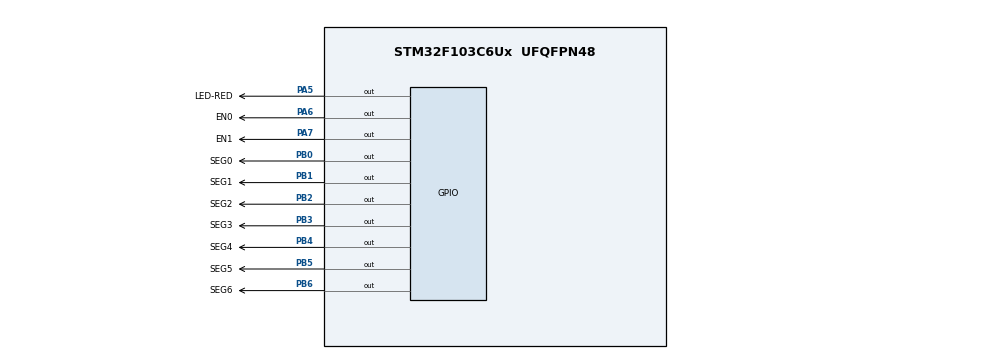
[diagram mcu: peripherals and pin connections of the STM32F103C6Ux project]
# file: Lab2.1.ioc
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Mcu.Family=STM32F1
Mcu.Name=STM32F103C6Ux
Mcu.Package=UFQFPN48
NVIC.PriorityGroup=NVIC_PRIORITYGROUP_4
NVIC.TIM2_IRQn=true\:0\:0\:false\:false\:true\:true\:true
PA5.GPIO_Label=LED-RED
PA5.Signal=GPIO_Output
PA6.GPIO_Label=EN0
PA6.Signal=GPIO_Output
PA7.GPIO_Label=EN1
PA7.Signal=GPIO_Output
PB0.GPIO_Label=SEG0
PB0.Signal=GPIO_Output
PB1.GPIO_Label=SEG1
PB1.Signal=GPIO_Output
PB2.GPIO_Label=SEG2
PB2.Signal=GPIO_Output
PB3.GPIO_Label=SEG3
PB3.Signal=GPIO_Output
PB4.GPIO_Label=SEG4
PB4.Signal=GPIO_Output
PB5.GPIO_Label=SEG5
PB5.Signal=GPIO_Output
PB6.GPIO_Label=SEG6
PB6.Signal=GPIO_Output
ProjectManager.HeapSize=0x200
ProjectManager.StackSize=0x400
ProjectManager.TargetToolchain=STM32CubeIDE
RCC.APB1Freq_Value=8000000
RCC.APB2Freq_Value=8000000
TIM2.Period=9
TIM2.Prescaler=7999
VP_SYS_VS_ND.Mode=No_Debug
VP_TIM2_VS_ClockSourceINT.Mode=Internal
board=custom

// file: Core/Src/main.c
/* USER CODE BEGIN Header */
/**
  ******************************************************************************
  * @file           : main.c
  * @brief          : Main program body
  ******************************************************************************
  * @attention
  *
  * <h2><center>&copy; Copyright (c) 2026 STMicroelectronics.
  * All rights reserved.</center></h2>
  *
  * This software component is licensed by ST under BSD 3-Clause license,
  * the "License"; You may not use this file except in compliance with the
  * License. You may obtain a copy of the License at:
  *                        opensource.org/licenses/BSD-3-Clause
  *
  ******************************************************************************
  */
/* USER CODE END Header */
#include "main.h"

TIM_HandleTypeDef htim2;

void SystemClock_Config(void);
static void MX_GPIO_Init(void);
static void MX_TIM2_Init(void);

/* USER CODE BEGIN 0 */
const uint8_t segment_code[10] = {
    0x40, // 0: a,b,c,d,e,f on (g off)
    0x79, // 1: b,c on
    0x24, // 2: a,b,d,e,g on
    0x30, // 3: a,b,c,d,g on
    0x19, // 4: b,c,f,g on
    0x12, // 5: a,c,d,f,g on
    0x02, // 6: a,c,d,e,f,g on
    0x78, // 7: a,b,c on
    0x00, // 8: a,b,c,d,e,f,g on
    0x10  // 9: a,b,c,d,f,g on
};

void display7SEG(int num) {
    if (num < 0 || num > 9) return;

    uint8_t code = segment_code[num];

    HAL_GPIO_WritePin(GPIOB, GPIO_PIN_0, (code & (1 << 0)) ? GPIO_PIN_SET : GPIO_PIN_RESET);
    HAL_GPIO_WritePin(GPIOB, GPIO_PIN_1, (code & (1 << 1)) ? GPIO_PIN_SET : GPIO_PIN_RESET);
    HAL_GPIO_WritePin(GPIOB, GPIO_PIN_2, (code & (1 << 2)) ? GPIO_PIN_SET : GPIO_PIN_RESET);
    HAL_GPIO_WritePin(GPIOB, GPIO_PIN_3, (code & (1 << 3)) ? GPIO_PIN_SET : GPIO_PIN_RESET);
    HAL_GPIO_WritePin(GPIOB, GPIO_PIN_4, (code & (1 << 4)) ? GPIO_PIN_SET : GPIO_PIN_RESET);
    HAL_GPIO_WritePin(GPIOB, GPIO_PIN_5, (code & (1 << 5)) ? GPIO_PIN_SET : GPIO_PIN_RESET);
    HAL_GPIO_WritePin(GPIOB, GPIO_PIN_6, (code & (1 << 6)) ? GPIO_PIN_SET : GPIO_PIN_RESET);
}
/* USER CODE END 0 */

int main(void)
{

  /* MCU Configuration--------------------------------------------------------*/

  /* Reset of all peripherals, Initializes the Flash interface and the Systick. */
  HAL_Init();

  /* Configure the system clock */
  SystemClock_Config();

  /* Initialize all configured peripherals */
  MX_GPIO_Init();
  MX_TIM2_Init();
  /* USER CODE BEGIN 2 */
  HAL_TIM_Base_Start_IT (& htim2 );
  /* USER CODE END 2 */

  /* Infinite loop */
  while (1)
  {

  }
}

void SystemClock_Config(void)
{
  RCC_OscInitTypeDef RCC_OscInitStruct = {0};
  RCC_ClkInitTypeDef RCC_ClkInitStruct = {0};

  /** Initializes the RCC Oscillators according to the specified parameters
  * in the RCC_OscInitTypeDef structure.
  */
  RCC_OscInitStruct.OscillatorType = RCC_OSCILLATORTYPE_HSI;
  RCC_OscInitStruct.HSIState = RCC_HSI_ON;
  RCC_OscInitStruct.HSICalibrationValue = RCC_HSICALIBRATION_DEFAULT;
  RCC_OscInitStruct.PLL.PLLState = RCC_PLL_NONE;
  if (HAL_RCC_OscConfig(&RCC_OscInitStruct) != HAL_OK)
  {
    Error_Handler();
  }
  /** Initializes the CPU, AHB and APB buses clocks
  */
  RCC_ClkInitStruct.ClockType = RCC_CLOCKTYPE_HCLK|RCC_CLOCKTYPE_SYSCLK
                              |RCC_CLOCKTYPE_PCLK1|RCC_CLOCKTYPE_PCLK2;
  RCC_ClkInitStruct.SYSCLKSource = RCC_SYSCLKSOURCE_HSI;
  RCC_ClkInitStruct.AHBCLKDivider = RCC_SYSCLK_DIV1;
  RCC_ClkInitStruct.APB1CLKDivider = RCC_HCLK_DIV1;
  RCC_ClkInitStruct.APB2CLKDivider = RCC_HCLK_DIV1;

  if (HAL_RCC_ClockConfig(&RCC_ClkInitStruct, FLASH_LATENCY_0) != HAL_OK)
  {
    Error_Handler();
  }
}

static void MX_TIM2_Init(void)
{

  TIM_ClockConfigTypeDef sClockSourceConfig = {0};
  TIM_MasterConfigTypeDef sMasterConfig = {0};

  htim2.Instance = TIM2;
  htim2.Init.Prescaler = 7999;
  htim2.Init.CounterMode = TIM_COUNTERMODE_UP;
  htim2.Init.Period = 9;
  htim2.Init.ClockDivision = TIM_CLOCKDIVISION_DIV1;
  htim2.Init.AutoReloadPreload = TIM_AUTORELOAD_PRELOAD_DISABLE;
  if (HAL_TIM_Base_Init(&htim2) != HAL_OK)
  {
    Error_Handler();
  }
  sClockSourceConfig.ClockSource = TIM_CLOCKSOURCE_INTERNAL;
  if (HAL_TIM_ConfigClockSource(&htim2, &sClockSourceConfig) != HAL_OK)
  {
    Error_Handler();
  }
  sMasterConfig.MasterOutputTrigger = TIM_TRGO_RESET;
  sMasterConfig.MasterSlaveMode = TIM_MASTERSLAVEMODE_DISABLE;
  if (HAL_TIMEx_MasterConfigSynchronization(&htim2, &sMasterConfig) != HAL_OK)
  {
    Error_Handler();
  }

}

static void MX_GPIO_Init(void)
{
  GPIO_InitTypeDef GPIO_InitStruct = {0};

  /* GPIO Ports Clock Enable */
  __HAL_RCC_GPIOA_CLK_ENABLE();
  __HAL_RCC_GPIOB_CLK_ENABLE();

  /*Configure GPIO pin Output Level */
  HAL_GPIO_WritePin(GPIOA, LED_RED_Pin|EN0_Pin|EN1_Pin, GPIO_PIN_RESET);

  /*Configure GPIO pin Output Level */
  HAL_GPIO_WritePin(GPIOB, SEG0_Pin|SEG1_Pin|SEG2_Pin|SEG3_Pin
                          |SEG4_Pin|SEG5_Pin|SEG6_Pin, GPIO_PIN_RESET);

  /*Configure GPIO pins : LED_RED_Pin EN0_Pin EN1_Pin */
  GPIO_InitStruct.Pin = LED_RED_Pin|EN0_Pin|EN1_Pin;
  GPIO_InitStruct.Mode = GPIO_MODE_OUTPUT_PP;
  GPIO_InitStruct.Pull = GPIO_NOPULL;
  GPIO_InitStruct.Speed = GPIO_SPEED_FREQ_LOW;
  HAL_GPIO_Init(GPIOA, &GPIO_InitStruct);

  /*Configure GPIO pins : SEG0_Pin SEG1_Pin SEG2_Pin SEG3_Pin
                           SEG4_Pin SEG5_Pin SEG6_Pin */
  GPIO_InitStruct.Pin = SEG0_Pin|SEG1_Pin|SEG2_Pin|SEG3_Pin
                          |SEG4_Pin|SEG5_Pin|SEG6_Pin;
  GPIO_InitStruct.Mode = GPIO_MODE_OUTPUT_PP;
  GPIO_InitStruct.Pull = GPIO_NOPULL;
  GPIO_InitStruct.Speed = GPIO_SPEED_FREQ_LOW;
  HAL_GPIO_Init(GPIOB, &GPIO_InitStruct);

}

/* USER CODE BEGIN 4 */
int led = 0;
int counter = 50;

void HAL_TIM_PeriodElapsedCallback(TIM_HandleTypeDef *htim)
{
    if (htim->Instance == TIM2)
    {
        counter--;
        if (counter <= 0)
        {
            counter = 50;

            if (led == 0)
            {
                HAL_GPIO_WritePin(GPIOA, EN1_Pin, GPIO_PIN_SET);
                display7SEG(1);
                HAL_GPIO_WritePin(GPIOA, EN0_Pin, GPIO_PIN_RESET);

                led = 1;
            }
            else
            {
                HAL_GPIO_WritePin(GPIOA, EN0_Pin, GPIO_PIN_SET);
                display7SEG(2);
                HAL_GPIO_WritePin(GPIOA, EN1_Pin, GPIO_PIN_RESET);

                led = 0;
            }
        }
    }
}
/* USER CODE END 4 */

void Error_Handler(void)
{
  __disable_irq();
  while (1)
  {
  }
}

/************************ (C) COPYRIGHT STMicroelectronics *****END OF FILE****/
